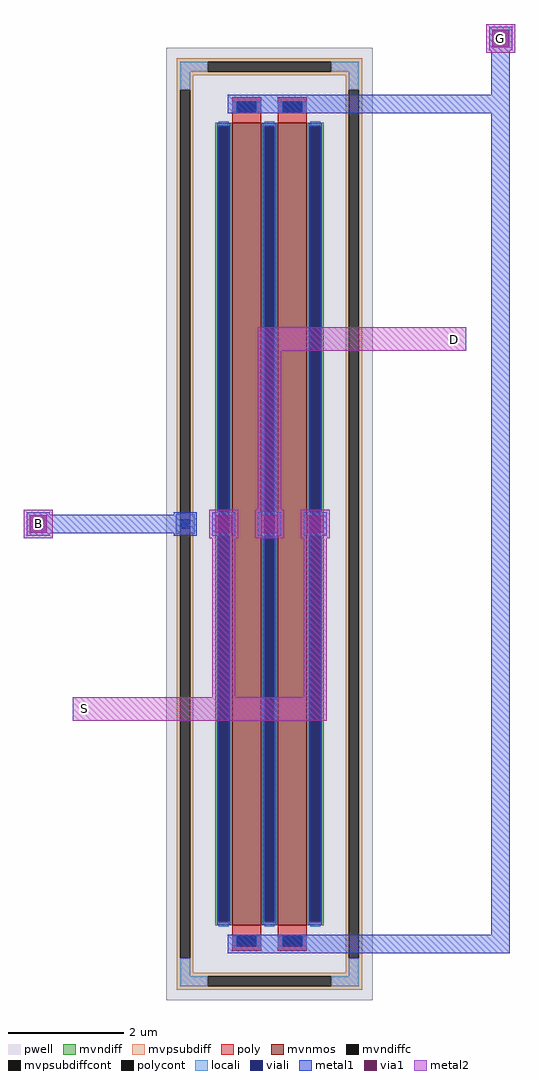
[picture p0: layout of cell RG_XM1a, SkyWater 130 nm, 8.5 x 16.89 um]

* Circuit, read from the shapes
.subckt RG_XM1a B S D G
XM1 D G S B sky130_fd_pr__nfet_g5v0d10v5 w=13.89 l=0.5 m=2
.ends

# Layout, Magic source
magic
tech sky130A
magscale 1 2
use sky130_fd_pr__nfet_g5v0d10v5_FMN43G XDEV
transform 1 0 0 0 1 0
box -357 -1647 357 1647
<< locali >>
rect -325 -33 -259 33
<< viali >>
rect -309 -17 -275 17
<< metal1 >>
rect -332 -40 -252 40
rect -832 -32 -260 32
rect -840 -40 -760 40
rect -198 -40 -118 40
rect -40 -40 40 40
rect 118 -40 198 40
rect -145 1421 832 1485
rect -145 -1485 832 -1421
rect 768 -1476 832 1712
rect 760 1640 840 1720
<< via1 >>
rect -830 -30 -770 30
rect -188 -30 -128 30
rect -30 -30 30 30
rect 128 -30 188 30
rect 770 1650 830 1710
<< metal2 >>
rect -850 -50 -750 50
rect -208 -50 -108 50
rect -198 -40 -118 40
rect -198 -680 -118 40
rect -50 -50 50 50
rect -40 -40 40 40
rect -40 -40 40 680
rect 108 -50 208 50
rect 118 -40 198 40
rect 118 -680 198 40
rect -680 -680 198 -600
rect -40 600 680 680
rect 750 1630 850 1730
<< labels >>
rlabel metal2 -830 -30 -770 30 0 B
port 1 nsew
rlabel metal2 -670 -670 -610 -610 0 S
port 2 nsew
rlabel metal2 610 610 670 670 0 D
port 3 nsew
rlabel metal2 770 1650 830 1710 0 G
port 4 nsew
<< end >>

# cell sky130_fd_pr__nfet_g5v0d10v5_FMN43G: kit device sky130_fd_pr__nfet_g5v0d10v5, w 13.888 l 0.5 m 1 nf 2 diffcov 100 polycov 100 guard 1 glc 1 grc 1 gtc 1 gbc 1 tbcov 100 rlcov 100 topc 1 botc 1 poverlap 0 doverlap 1 lmin 0.50 wmin 0.42 compatible {sky130_fd_pr__nfet_01v8 sky130_fd_pr__nfet_01v8_lvt sky130_fd_bs_flash__special_sonosfet_star sky130_fd_pr__nfet_g5v0d10v5 sky130_fd_pr__nfet_05v0_nvt sky130_fd_pr__nfet_03v3_nvt} full_metal 1 viasrc 100 viadrn 100 viagate 100 viagb 0 viagr 0 viagl 0 viagt 0
